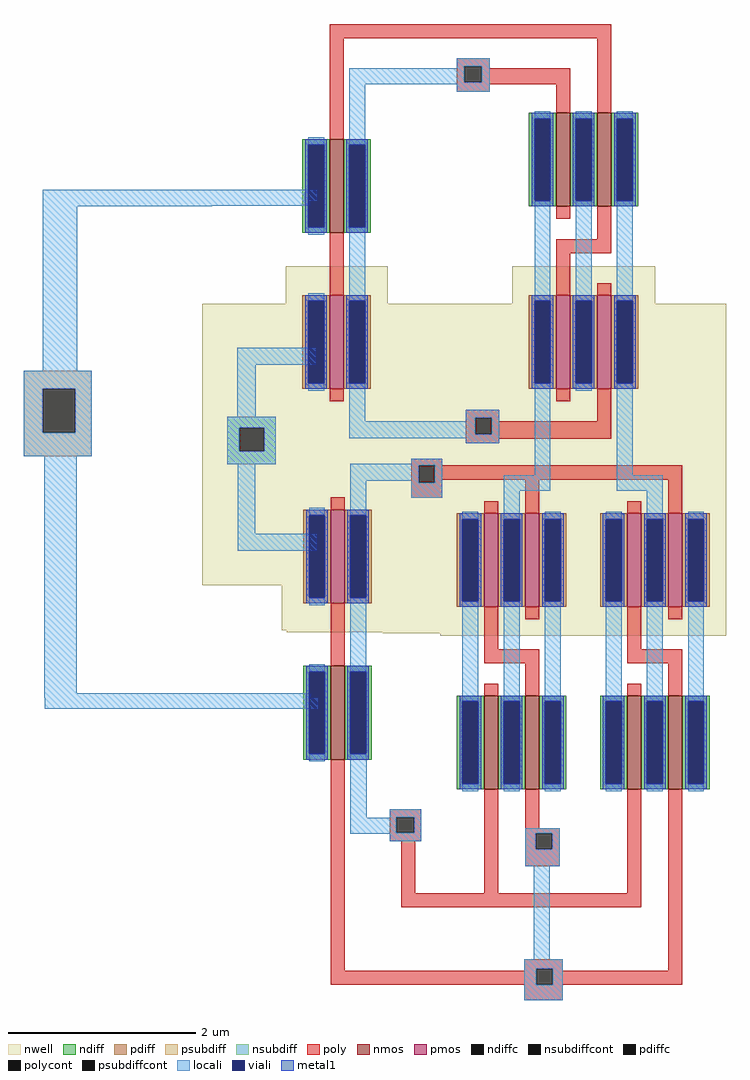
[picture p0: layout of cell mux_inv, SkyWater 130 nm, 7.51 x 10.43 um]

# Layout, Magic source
magic
tech sky130A
magscale 1 2
<< nwell >>
rect -508 998 -330 1064
rect -138 1016 158 1064
rect -112 998 154 1016
rect -508 928 612 998
rect -508 729 508 928
rect -508 719 511 729
rect -508 707 518 719
rect -508 699 533 707
rect -508 684 518 699
rect -508 658 252 684
rect -508 626 108 658
rect -508 578 -344 626
rect -508 462 -500 578
rect -432 573 -395 578
rect -338 573 108 626
rect 488 624 518 684
rect -432 536 108 573
rect -338 494 108 536
rect -338 366 256 494
rect -122 360 256 366
<< psubdiff >>
rect -890 882 -744 921
rect -890 788 -849 882
rect -780 788 -744 882
rect -890 738 -744 788
<< nsubdiff >>
rect -455 799 -351 823
rect -455 749 -429 799
rect -376 749 -351 799
rect -455 721 -351 749
<< psubdiffcont >>
rect -849 788 -780 882
<< nsubdiffcont >>
rect -429 749 -376 799
<< poly >>
rect -236 1632 366 1662
rect -236 1433 -206 1632
rect 36 1572 106 1589
rect 36 1537 52 1572
rect 89 1567 106 1572
rect 89 1537 278 1567
rect 36 1533 278 1537
rect 36 1517 106 1533
rect 248 1483 278 1533
rect 336 1492 366 1632
rect 55 820 127 838
rect 55 785 75 820
rect 110 813 127 820
rect 336 813 366 865
rect 110 785 366 813
rect 55 776 366 785
rect 55 766 127 776
rect -61 719 5 733
rect -61 682 -45 719
rect -11 688 518 719
rect -11 682 5 688
rect -61 649 5 682
rect 182 640 212 688
rect 488 624 518 688
rect -234 -361 -204 76
rect -107 -33 -40 -16
rect -107 -67 -94 -33
rect -55 -67 -40 -33
rect -107 -85 -40 -67
rect -83 -196 -53 -85
rect 94 -196 124 0
rect 182 -57 212 8
rect 182 -68 256 -57
rect 182 -102 205 -68
rect 240 -102 256 -68
rect 182 -138 256 -102
rect 400 -196 430 26
rect -83 -226 430 -196
rect 180 -357 262 -337
rect 180 -361 206 -357
rect -234 -391 206 -361
rect 241 -361 262 -357
rect 488 -361 518 12
rect 241 -391 518 -361
rect 180 -424 262 -391
<< polycont >>
rect 52 1537 89 1572
rect 75 785 110 820
rect -45 682 -11 719
rect -94 -67 -55 -33
rect 205 -102 240 -68
rect 206 -391 241 -357
<< locali >>
rect 36 1572 106 1589
rect 36 1567 52 1572
rect -194 1537 52 1567
rect 89 1537 106 1572
rect -194 1533 106 1537
rect -194 1417 -160 1533
rect 36 1517 106 1533
rect -849 1274 -322 1308
rect -849 1272 -487 1274
rect -849 921 -775 1272
rect -433 934 -328 970
rect -890 882 -744 921
rect -890 788 -849 882
rect -780 788 -744 882
rect -433 823 -394 934
rect -890 738 -744 788
rect -455 799 -351 823
rect -455 749 -429 799
rect -376 749 -351 799
rect -194 813 -160 880
rect 55 820 127 838
rect 55 813 75 820
rect -194 785 75 813
rect 110 785 127 820
rect -194 777 127 785
rect 55 766 127 777
rect -846 232 -776 738
rect -455 721 -351 749
rect -61 722 5 733
rect -432 573 -395 721
rect -192 719 5 722
rect -192 686 -45 719
rect -192 612 -158 686
rect -61 682 -45 686
rect -11 682 5 719
rect -61 649 5 682
rect -432 536 -279 573
rect -846 222 -308 232
rect -845 198 -308 222
rect -192 -34 -157 94
rect -107 -33 -40 -16
rect -107 -34 -94 -33
rect -192 -67 -94 -34
rect -55 -67 -40 -33
rect -192 -69 -40 -67
rect -107 -85 -40 -69
rect 182 -68 256 -57
rect 182 -102 205 -68
rect 240 -102 256 -68
rect 182 -138 256 -102
rect 200 -337 235 -138
rect 180 -357 262 -337
rect 180 -391 206 -357
rect 241 -391 262 -357
rect 180 -424 262 -391
use inverter  inverter_0
transform 1 0 -280 0 1 -580
box -226 644 170 1266
use inverter  inverter_2
transform 1 0 -282 0 -1 2086
box -226 644 170 1266
use mux1_4  mux1_4_0
transform 1 0 0 0 1 0
box 0 0 612 1498
<< end >>

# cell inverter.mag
magic
tech sky130A
magscale 1 2
<< nwell >>
rect -226 1206 -46 1214
rect -226 1186 -34 1206
rect -226 1052 -32 1186
rect -226 1042 -34 1052
<< poly >>
rect 46 896 76 978
<< locali >>
rect -66 1116 16 1152
rect 88 874 122 1000
rect -78 802 4 812
rect -78 778 20 802
use sky130_fd_pr__nfet_01v8_WYB6A9  XM13
transform 1 0 61 0 1 770
box -73 -126 73 126
use sky130_fd_pr__pfet_01v8_5U3WHE  XM14
transform 1 0 61 0 1 1104
box -109 -162 109 162
<< end >>

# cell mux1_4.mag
magic
tech sky130A
magscale 1 2
<< nwell >>
rect 0 676 612 1064
rect 136 660 256 676
rect 378 664 476 676
rect 480 674 612 676
rect 398 660 476 664
<< locali >>
rect 202 698 236 883
rect 136 664 236 698
rect 378 698 412 891
rect 378 664 476 698
rect 136 620 170 664
rect 442 620 476 664
use mux1_2  mux1_2_0
transform 1 0 0 0 1 -98
box 0 98 306 776
use mux1_2  mux1_2_1
transform 1 0 306 0 1 -98
box 0 98 306 776
use mux1_2  mux1_2_2
transform 1 0 154 0 -1 1596
box 0 98 306 776
<< end >>

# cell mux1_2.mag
magic
tech sky130A
<< poly >>
rect 47 212 62 247
rect 47 197 106 212
rect 91 175 106 197
use mux_unitcell  mux_unitcell_0
transform 1 0 364 0 1 -45
box -364 94 -255 433
use mux_unitcell  mux_unitcell_1
transform -1 0 -211 0 1 -45
box -364 94 -255 433
<< end >>

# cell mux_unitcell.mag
magic
tech sky130A
magscale 1 2
<< nwell >>
rect -728 542 -694 570
<< locali >>
rect -680 416 -646 600
rect -592 416 -558 600
use sky130_fd_pr__nfet_01v8_WYB6A9  XM5
transform 1 0 -619 0 1 314
box -73 -126 73 126
use sky130_fd_pr__pfet_01v8_5U3WHE  XM7
transform 1 0 -619 0 1 704
box -109 -162 109 162
<< end >>

# cell sky130_fd_pr__nfet_01v8_WYB6A9: kit device sky130_fd_pr__nfet_01v8, w 1.0 l 0.15 m 1 nf 1 diffcov 100 polycov 100 guard 0 glc 0 grc 0 gtc 0 gbc 0 tbcov 100 rlcov 100 topc 0 botc 0 poverlap 0 doverlap 0 lmin 0.15 wmin 0.42 compatible {sky130_fd_pr__nfet_01v8 sky130_fd_pr__nfet_01v8_lvt sky130_fd_bs_flash__special_sonosfet_star sky130_fd_pr__nfet_g5v0d10v5 sky130_fd_pr__nfet_05v0_nvt sky130_fd_pr__nfet_03v3_nvt} full_metal 0 viasrc 100 viadrn 100 viagate 100 viagb 0 viagr 0 viagl 0 viagt 0

# cell sky130_fd_pr__pfet_01v8_5U3WHE: kit device sky130_fd_pr__pfet_01v8, w 1.0 l 0.15 m 1 nf 1 diffcov 100 polycov 100 guard 0 glc 0 grc 0 gtc 0 gbc 0 tbcov 100 rlcov 100 topc 0 botc 0 poverlap 0 doverlap 0 lmin 0.15 wmin 0.42 compatible {sky130_fd_pr__pfet_01v8 sky130_fd_pr__pfet_01v8_lvt sky130_fd_pr__pfet_01v8_hvt sky130_fd_pr__pfet_g5v0d10v5} full_metal 0 viasrc 100 viadrn 100 viagate 100 viagb 0 viagr 0 viagl 0 viagt 0
